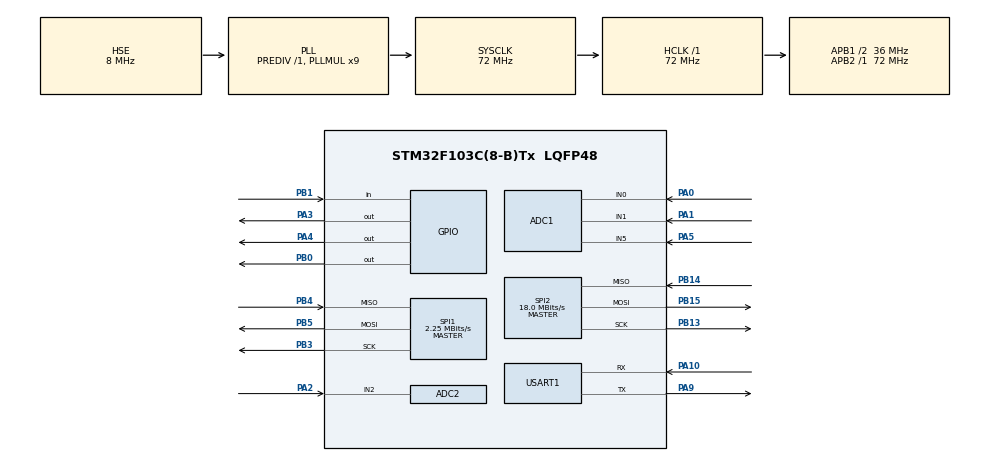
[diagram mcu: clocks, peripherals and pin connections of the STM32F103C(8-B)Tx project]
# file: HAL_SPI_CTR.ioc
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ADC1.Channel-0\#ChannelRegularConversion=ADC_CHANNEL_0
ADC1.Channel-1\#ChannelRegularConversion=ADC_CHANNEL_1
ADC1.Channel-4\#ChannelRegularConversion=ADC_CHANNEL_2
ADC1.Channel-5\#ChannelRegularConversion=ADC_CHANNEL_5
ADC1.DataAlign=ADC_DATAALIGN_RIGHT
ADC1.NbrOfConversion=4
ADC1.NbrOfConversionFlag=1
ADC1.Rank-0\#ChannelRegularConversion=1
ADC1.Rank-1\#ChannelRegularConversion=2
ADC1.Rank-4\#ChannelRegularConversion=3
ADC1.Rank-5\#ChannelRegularConversion=4
ADC1.SamplingTime-0\#ChannelRegularConversion=ADC_SAMPLETIME_13CYCLES_5
ADC1.SamplingTime-1\#ChannelRegularConversion=ADC_SAMPLETIME_13CYCLES_5
ADC1.SamplingTime-4\#ChannelRegularConversion=ADC_SAMPLETIME_13CYCLES_5
ADC1.SamplingTime-5\#ChannelRegularConversion=ADC_SAMPLETIME_13CYCLES_5
ADC1.master=1
ADC2.Channel-0\#ChannelRegularConversion=ADC_CHANNEL_0
ADC2.Channel-1\#ChannelRegularConversion=ADC_CHANNEL_0
ADC2.Channel-2\#ChannelRegularConversion=ADC_CHANNEL_0
ADC2.Channel-3\#ChannelRegularConversion=ADC_CHANNEL_0
ADC2.NbrOfConversion=4
ADC2.NbrOfConversionFlag=1
ADC2.Rank-0\#ChannelRegularConversion=1
ADC2.Rank-1\#ChannelRegularConversion=2
ADC2.Rank-2\#ChannelRegularConversion=3
ADC2.Rank-3\#ChannelRegularConversion=4
ADC2.SamplingTime-0\#ChannelRegularConversion=ADC_SAMPLETIME_1CYCLE_5
ADC2.SamplingTime-1\#ChannelRegularConversion=ADC_SAMPLETIME_1CYCLE_5
ADC2.SamplingTime-2\#ChannelRegularConversion=ADC_SAMPLETIME_1CYCLE_5
ADC2.SamplingTime-3\#ChannelRegularConversion=ADC_SAMPLETIME_1CYCLE_5
Dma.ADC1.0.Direction=DMA_PERIPH_TO_MEMORY
Dma.ADC1.0.Instance=DMA1_Channel1
Dma.ADC1.0.MemDataAlignment=DMA_MDATAALIGN_HALFWORD
Dma.ADC1.0.MemInc=DMA_MINC_ENABLE
Dma.ADC1.0.Mode=DMA_NORMAL
Dma.ADC1.0.PeriphDataAlignment=DMA_PDATAALIGN_HALFWORD
Dma.ADC1.0.PeriphInc=DMA_PINC_DISABLE
Dma.ADC1.0.Priority=DMA_PRIORITY_LOW
Dma.Request0=ADC1
Mcu.Family=STM32F1
Mcu.Name=STM32F103C(8-B)Tx
Mcu.Package=LQFP48
NVIC.DMA1_Channel1_IRQn=true\:0\:0\:false\:false\:true\:false\:true\:true
NVIC.PriorityGroup=NVIC_PRIORITYGROUP_4
NVIC.RCC_IRQn=true\:0\:0\:false\:false\:true\:true\:false\:true
NVIC.SPI1_IRQn=true\:0\:0\:false\:false\:true\:true\:true\:true
NVIC.TIM1_BRK_IRQn=true\:0\:0\:false\:false\:true\:true\:true\:true
NVIC.TIM1_UP_IRQn=true\:0\:0\:false\:false\:true\:true\:true\:true
NVIC.TIM2_IRQn=true\:0\:0\:false\:false\:true\:true\:true\:true
NVIC.USART1_IRQn=true\:0\:0\:false\:false\:true\:true\:true\:true
PA0-WKUP.Signal=ADCx_IN0
PA1.Signal=ADCx_IN1
PA10.Mode=Asynchronous
PA10.Signal=USART1_RX
PA13.Mode=Serial_Wire
PA13.Signal=SYS_JTMS-SWDIO
PA14.Mode=Serial_Wire
PA14.Signal=SYS_JTCK-SWCLK
PA2.Signal=ADCx_IN2
PA3.Signal=GPIO_Output
PA4.Signal=GPIO_Output
PA5.Signal=ADCx_IN5
PA9.Mode=Asynchronous
PA9.Signal=USART1_TX
PB0.Signal=GPIO_Output
PB1.GPIO_PuPd=GPIO_PULLUP
PB1.Signal=GPIO_Input
PB13.Mode=Full_Duplex_Master
PB13.Signal=SPI2_SCK
PB14.Mode=Full_Duplex_Master
PB14.Signal=SPI2_MISO
PB15.Mode=Full_Duplex_Master
PB15.Signal=SPI2_MOSI
PB3.Mode=Full_Duplex_Master
PB3.Signal=SPI1_SCK
PB4.Mode=Full_Duplex_Master
PB4.Signal=SPI1_MISO
PB5.Mode=Full_Duplex_Master
PB5.Signal=SPI1_MOSI
PD0-OSC_IN.Mode=HSE-External-Oscillator
PD0-OSC_IN.Signal=RCC_OSC_IN
PD1-OSC_OUT.Mode=HSE-External-Oscillator
PD1-OSC_OUT.Signal=RCC_OSC_OUT
ProjectManager.HeapSize=0x200
ProjectManager.StackSize=0x400
ProjectManager.TargetToolchain=MDK-ARM V5.32
RCC.ADCPresc=RCC_ADCPCLK2_DIV6
RCC.AHBFreq_Value=72000000
RCC.APB1CLKDivider=RCC_HCLK_DIV2
RCC.APB1Freq_Value=36000000
RCC.APB1TimFreq_Value=72000000
RCC.APB2Freq_Value=72000000
RCC.APB2TimFreq_Value=72000000
RCC.HCLKFreq_Value=72000000
RCC.PLLMUL=RCC_PLL_MUL9
RCC.PLLSourceVirtual=RCC_PLLSOURCE_HSE
RCC.SYSCLKFreq_VALUE=72000000
RCC.SYSCLKSource=RCC_SYSCLKSOURCE_PLLCLK
RCC.USBFreq_Value=72000000
SH.ADCx_IN0.0=ADC1_IN0,IN0
SH.ADCx_IN0.1=ADC2_IN0,IN0
SH.ADCx_IN1.0=ADC1_IN1,IN1
SH.ADCx_IN1.1=ADC2_IN1,IN1
SH.ADCx_IN2.0=ADC2_IN2,IN2
SH.ADCx_IN2.1=ADC1_IN2,IN2
SH.ADCx_IN5.0=ADC1_IN5,IN5
SPI1.BaudRatePrescaler=SPI_BAUDRATEPRESCALER_32
SPI1.CRCCalculation=SPI_CRCCALCULATION_DISABLE
SPI1.CalculateBaudRate=2.25 MBits/s
SPI1.Direction=SPI_DIRECTION_2LINES
SPI1.Mode=SPI_MODE_MASTER
SPI1.VirtualType=VM_MASTER
SPI2.CalculateBaudRate=18.0 MBits/s
SPI2.Direction=SPI_DIRECTION_2LINES
SPI2.Mode=SPI_MODE_MASTER
SPI2.VirtualType=VM_MASTER
TIM1.Period=1000-1
TIM1.Prescaler=72-1
TIM2.Period=20000-1
TIM2.Prescaler=72-1
USART1.VirtualMode=VM_ASYNC
VP_TIM1_VS_ClockSourceINT.Mode=Internal
VP_TIM2_VS_ClockSourceINT.Mode=Internal
board=custom

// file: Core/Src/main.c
/* USER CODE BEGIN Header */
/**
  ******************************************************************************
  * @file           : main.c
  * @brief          : Main program body
  ******************************************************************************
  * @attention
  *
  * Copyright (c) 2023 STMicroelectronics.
  * All rights reserved.
  *
  * This software is licensed under terms that can be found in the LICENSE file
  * in the root directory of this software component.
  * If no LICENSE file comes with this software, it is provided AS-IS.
  *
  ******************************************************************************
  */
/* USER CODE END Header */
#include "main.h"
#include "adc.h"
#include "dma.h"
#include "spi.h"
#include "tim.h"
#include "usart.h"
#include "gpio.h"

/* USER CODE BEGIN Includes */
#include "drv_RF24L01.h"
#include "drv_spi.h"
#include "debug.h"
/* USER CODE END Includes */

void SystemClock_Config(void);

/* USER CODE BEGIN 0 */
uint8_t a = 0;
uint8_t b = 0;
uint8_t count =0 ;
	int16_t test1=10;
	uint16_t test2=10;
	float test3=10.66f;
	int16_t test4=10;
	int16_t test5[6]={1,2,3,4,5,6};
	int time=20;
/* USER CODE END 0 */

int main(void)
{

  /* MCU Configuration--------------------------------------------------------*/

  /* Reset of all peripherals, Initializes the Flash interface and the Systick. */
  HAL_Init();

  /* Configure the system clock */
  SystemClock_Config();

  /* Initialize all configured peripherals */
  MX_GPIO_Init();
  MX_DMA_Init();
  MX_SPI1_Init();
  MX_TIM2_Init();
  MX_ADC1_Init();
  MX_ADC2_Init();
  MX_SPI2_Init();
  MX_TIM1_Init();
  MX_USART1_UART_Init();
  /* USER CODE BEGIN 2 */
  HAL_TIM_Base_Start_IT(&htim1);
  HAL_TIM_Base_Start_IT(&htim2);
  RF24L01_Port_Init();
  // HAL_GPIO_WritePin(GPIOA,GPIO_PIN_3,GPIO_PIN_RESET);
  // NRF24L01_Read_Status_Register(&NRF24L01_rtx);
//	HAL_Delay(1100);
  RF24L01_Init(&NRF24L01_rtx);
  //NRF24L01_Set_Speed(&NRF24L01_rtx,SPEED_1M);
    NRF24L01_Set_Power(&NRF24L01_rtx, PWR_18DB);

      NRF24L01_Write_Reg(&NRF24L01_rtx,RF_SETUP ,0x06 );
			  RF24L01_Set_Mode(&NRF24L01_rtx, MODE_RX);
    //NRF24L01_Write_Reg(&NRF24L01_rtx, CONFIG,0x02 );
    // 0x03接收�?0x02发�??
    //RF24L01_SET_CE_HIGH();

  NRF24L01_bus.TxPacket.Txlength = 32;

//  NRF24L01_bus.TxPacket.Txbuffer[2]=123;
//  NRF24L01_bus.TxPacket.Txbuffer[3]=121;
//  NRF24L01_bus.TxPacket.Txbuffer[5]=13;
   //NRF24L01_bus.TxPacket.Txbuffer[1]=1;
  /* USER CODE END 2 */

  /* Infinite loop */
  /* USER CODE BEGIN WHILE */
	extern TransmitPacket transmit_packet;
	InitPacket();
	AddParameter_i("test_1",&test1,&transmit_packet);
	AddParameter_ui("test_2",&test2,&transmit_packet);
	AddParameter_f("test_3",&test3,&transmit_packet);
	AddParameter_i("test_4",&test4,&transmit_packet);
	AddParameter_i("test_5",test5,&transmit_packet);
	AddParameter_i("test_6",test5+1,&transmit_packet);
	AddParameter_i("test_7",test5+2,&transmit_packet);
	AddParameter_i("test_8",test5+3,&transmit_packet);
	AddParameter_i("test_9",test5+4,&transmit_packet);
	AddParameter_i("test_10",test5+5,&transmit_packet);
  while (1)
  {
		test1++;
		if(test1>100) test1-=100;
    /* USER CODE END WHILE */

    /* USER CODE BEGIN 3 */
		//TransmitParameter();
		//HAL_Delay(time);
	 // NRF24L01_check(&NRF24L01_rtx);
	 // HAL_Delay(10);
	 // count++;
	 // NRF24L01_bus.TxPacket.Txbuffer[1]=count;
    NRF24L01_RxPacket(&NRF24L01_rtx, &NRF24L01_bus);
    //NRF24L01_TxPacket(&NRF24L01_rtx,&NRF24L01_bus);
    a = NRF24L01_Read_Reg(&NRF24L01_rtx, STATUS);
    b =NRF24L01_bus.RxPacket.Rxbuffer[1];

  }
  /* USER CODE END 3 */
}

void SystemClock_Config(void)
{
  RCC_OscInitTypeDef RCC_OscInitStruct = {0};
  RCC_ClkInitTypeDef RCC_ClkInitStruct = {0};
  RCC_PeriphCLKInitTypeDef PeriphClkInit = {0};

  /** Initializes the RCC Oscillators according to the specified parameters
  * in the RCC_OscInitTypeDef structure.
  */
  RCC_OscInitStruct.OscillatorType = RCC_OSCILLATORTYPE_HSE;
  RCC_OscInitStruct.HSEState = RCC_HSE_ON;
  RCC_OscInitStruct.HSEPredivValue = RCC_HSE_PREDIV_DIV1;
  RCC_OscInitStruct.HSIState = RCC_HSI_ON;
  RCC_OscInitStruct.PLL.PLLState = RCC_PLL_ON;
  RCC_OscInitStruct.PLL.PLLSource = RCC_PLLSOURCE_HSE;
  RCC_OscInitStruct.PLL.PLLMUL = RCC_PLL_MUL9;
  if (HAL_RCC_OscConfig(&RCC_OscInitStruct) != HAL_OK)
  {
    Error_Handler();
  }

  /** Initializes the CPU, AHB and APB buses clocks
  */
  RCC_ClkInitStruct.ClockType = RCC_CLOCKTYPE_HCLK|RCC_CLOCKTYPE_SYSCLK
                              |RCC_CLOCKTYPE_PCLK1|RCC_CLOCKTYPE_PCLK2;
  RCC_ClkInitStruct.SYSCLKSource = RCC_SYSCLKSOURCE_PLLCLK;
  RCC_ClkInitStruct.AHBCLKDivider = RCC_SYSCLK_DIV1;
  RCC_ClkInitStruct.APB1CLKDivider = RCC_HCLK_DIV2;
  RCC_ClkInitStruct.APB2CLKDivider = RCC_HCLK_DIV1;

  if (HAL_RCC_ClockConfig(&RCC_ClkInitStruct, FLASH_LATENCY_2) != HAL_OK)
  {
    Error_Handler();
  }
  PeriphClkInit.PeriphClockSelection = RCC_PERIPHCLK_ADC;
  PeriphClkInit.AdcClockSelection = RCC_ADCPCLK2_DIV6;
  if (HAL_RCCEx_PeriphCLKConfig(&PeriphClkInit) != HAL_OK)
  {
    Error_Handler();
  }
}

/* USER CODE BEGIN 4 */
void HAL_TIM_PeriodElapsedCallback(TIM_HandleTypeDef *htim)
{

    if (htim == (&htim1))
  {
    HAL_ADC_Start_DMA(&hadc1, (uint32_t *)&ADC_Value,20);
	//NRF_Intercommunication( NRF24L01_rtx, NRF24L01_bus );
  }

      if (htim == (&htim2))
  {

    	//NRF_Intercommunication( NRF24L01_rtx, NRF24L01_bus );
  }
}
/* USER CODE END 4 */

void Error_Handler(void)
{
  __disable_irq();
  while (1)
  {
  }
}
